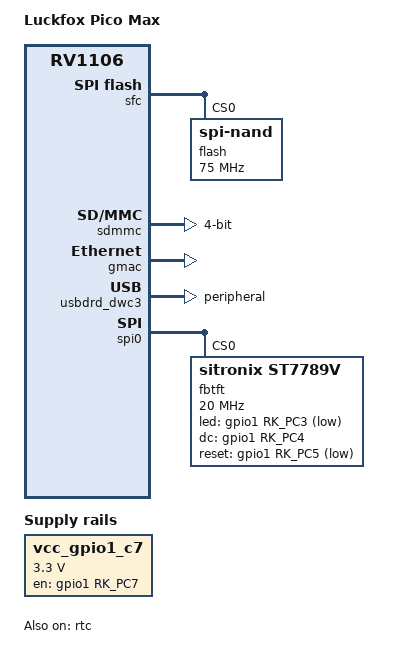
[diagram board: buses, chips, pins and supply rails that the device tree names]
// SPDX-License-Identifier: (GPL-2.0+ OR MIT)
/*
 * Copyright (c) 2022 Rockchip Electronics Co., Ltd.
 */

/dts-v1/;

#include "rv1106.dtsi"
#include "rv1106-evb.dtsi"
#include "rv1106-luckfox-pico-pro-max-ipc.dtsi"

/ {
	model = "Luckfox Pico Max";
	compatible = "rockchip,rv1103g-38x38-ipc-v10", "rockchip,rv1106";
    vcc_gpio1_c7: vcc-gpio1-c7 {
        compatible = "regulator-fixed";
        regulator-name = "vcc_gpio1_c7";
        regulator-always-on;
        regulator-boot-on;
        regulator-min-microvolt = <3300000>;
        regulator-max-microvolt = <3300000>;
        gpio = <&gpio1 RK_PC7 GPIO_ACTIVE_HIGH>;
        enable-active-high;
        pinctrl-names = "default";
        pinctrl-0 = <&gpio1_pc7_pull_up>;
    }
};

/**********FLASH**********/
&sfc {
	status = "okay";
	flash@0 {
		compatible = "spi-nand";
		reg = <0>;
		spi-max-frequency = <75000000>;
		spi-rx-bus-width = <4>;
		spi-tx-bus-width = <1>;
	};
	
};

/**********SDMMC**********/
&sdmmc {
	max-frequency = <50000000>;
	no-sdio;
	no-mmc;
	bus-width = <4>;
	cap-mmc-highspeed;
	cap-sd-highspeed;
	disable-wp;
	pinctrl-names = "default";
	pinctrl-0 = <&sdmmc0_clk &sdmmc0_cmd &sdmmc0_det &sdmmc0_bus4>;
	status = "okay";
};

/**********ETH**********/
&gmac {
	status = "okay";
};

/**********USB**********/
&usbdrd_dwc3 {
	status = "okay";
	dr_mode = "peripheral";
};

/**********SPI**********/
&spi0 {
	status = "okay";
	pinctrl-0 = <&spi0m0_clk &spi0m0_mosi &spi0m0_cs0>;
	spidev@0 {
		compatible = "rockchip,spidev";
		status = "disabled";
		reg = <0>;
		spi-max-frequency = <50000000>;
	};
	fbtft@0 {
		compatible = "sitronix,st7789v";
		reg = <0>;
		spi-max-frequency = <20000000>;
		fps = <30>;
		buswidth = <8>;
		debug = <0x7>;
		pinctrl-names = "default";
		pinctrl-0 = <&st7789v_pins>;
		led-gpios = <&gpio1 RK_PC3 GPIO_ACTIVE_LOW>;
		dc-gpios = <&gpio1 RK_PC4 GPIO_ACTIVE_HIGH>;
		reset-gpios = <&gpio1 RK_PC5 GPIO_ACTIVE_LOW>;
		status = "okay";
	};
};

/**********I2C**********/
/* I2C3_M1 */
&i2c3 {
	status = "disabled";
	clock-frequency = <100000>;
};

/* I2C1_M1 */
&i2c1 {
	status = "disabled";
	clock-frequency = <100000>;
};


/**********UART**********/
/* UART3_M1 */
&uart3 {
	status = "disabled";
};

/* UART4_M1 */
&uart4 {
	status = "disabled";
};

/**********RTC**********/
&rtc {
	status = "okay";
};

/**********PINCTRL**********/
&pinctrl {
	gpio1-pc7 {
		gpio1_pc7_pull_up: gpio1-pc7-pull-up {
			rockchip,pins = <1 RK_PC7 RK_FUNC_GPIO &pcfg_pull_up>;
		};
	};

	st7789v {
		st7789v_pins: st7789v-pins {
			rockchip,pins =
				<1 RK_PC3 RK_FUNC_GPIO &pcfg_pull_none>,
				<1 RK_PC4 RK_FUNC_GPIO &pcfg_pull_none>,
				<1 RK_PC5 RK_FUNC_GPIO &pcfg_pull_none>;
		};
	};
};
